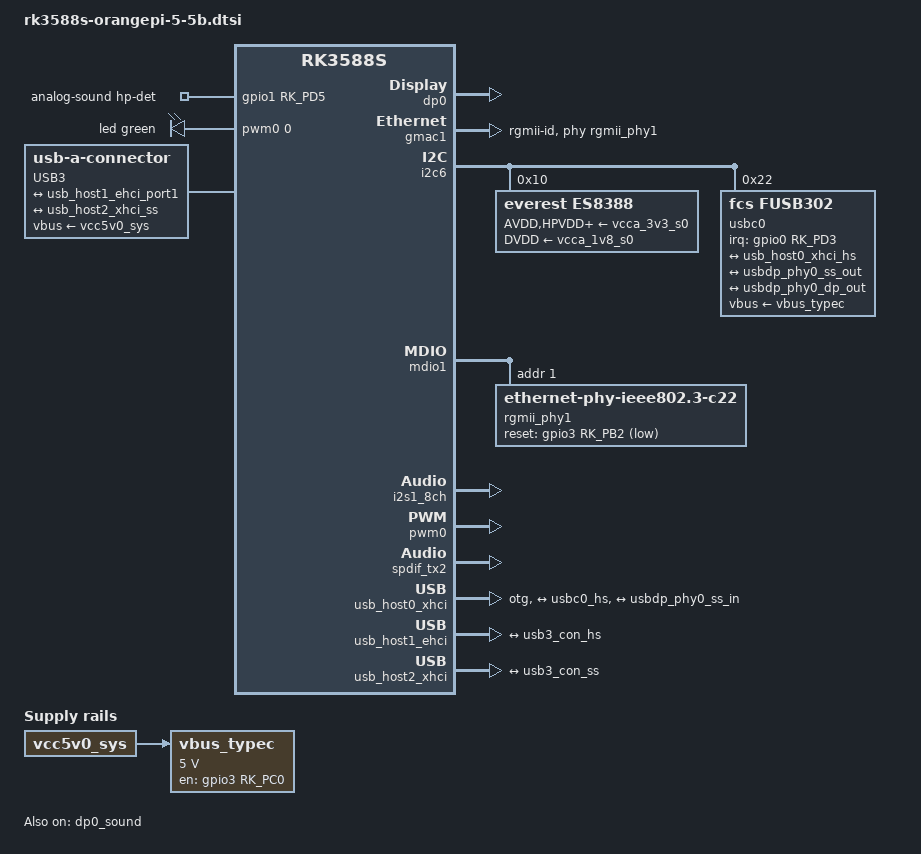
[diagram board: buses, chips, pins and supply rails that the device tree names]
// SPDX-License-Identifier: (GPL-2.0+ OR MIT)
/*
 * Device tree definitions shared by the Orange Pi 5 and Orange Pi 5B
 * but not the Orange Pi 5 Pro.
 */

#include <dt-bindings/usb/pd.h>
#include "rk3588s-orangepi-5.dtsi"

/ {
	aliases {
		ethernet0 = &gmac1;
	};

	analog-sound {
		compatible = "simple-audio-card";
		pinctrl-names = "default";
		pinctrl-0 = <&hp_detect>;
		simple-audio-card,name = "rockchip,es8388";
		simple-audio-card,bitclock-master = <&masterdai>;
		simple-audio-card,format = "i2s";
		simple-audio-card,frame-master = <&masterdai>;
		simple-audio-card,hp-det-gpios = <&gpio1 RK_PD5 GPIO_ACTIVE_HIGH>;
		simple-audio-card,mclk-fs = <256>;
		simple-audio-card,routing =
			"Headphones", "LOUT1",
			"Headphones", "ROUT1",
			"LINPUT1", "Microphone Jack",
			"RINPUT1", "Microphone Jack",
			"LINPUT2", "Onboard Microphone",
			"RINPUT2", "Onboard Microphone";
		simple-audio-card,widgets =
			"Microphone", "Microphone Jack",
			"Microphone", "Onboard Microphone",
			"Headphone", "Headphones";

		simple-audio-card,cpu {
			sound-dai = <&i2s1_8ch>;
		};

		masterdai: simple-audio-card,codec {
			sound-dai = <&es8388>;
			system-clock-frequency = <12288000>;
		};
	};

	pwm-leds {
		compatible = "pwm-leds";

		led {
			color = <LED_COLOR_ID_GREEN>;
			function = LED_FUNCTION_STATUS;
			linux,default-trigger = "heartbeat";
			max-brightness = <255>;
			pwms = <&pwm0 0 25000 0>;
		};
	};

	/*
	 * The upper Type-A port: its USB 2.0 lines go to USB 2.0 host 1
	 * (EHCI/OHCI), its SuperSpeed lanes to the SuperSpeed-only USB 3.0
	 * host 2 (xHCI).
	 */
	usb3_con: connector-usb3 {
		compatible = "usb-a-connector";
		label = "USB3";
		vbus-supply = <&vcc5v0_sys>;

		ports {
			#address-cells = <1>;
			#size-cells = <0>;

			port@0 {
				reg = <0>;

				usb3_con_hs: endpoint {
					remote-endpoint = <&usb_host1_ehci_port1>;
				};
			};

			port@1 {
				reg = <1>;

				usb3_con_ss: endpoint {
					remote-endpoint = <&usb_host2_xhci_ss>;
				};
			};
		};
	};

	vbus_typec: regulator-vbus-typec {
		compatible = "regulator-fixed";
		enable-active-high;
		gpio = <&gpio3 RK_PC0 GPIO_ACTIVE_HIGH>;
		pinctrl-names = "default";
		pinctrl-0 = <&typec5v_pwren>;
		regulator-name = "vbus_typec";
		regulator-min-microvolt = <5000000>;
		regulator-max-microvolt = <5000000>;
		vin-supply = <&vcc5v0_sys>;
	};
};

&dp0 {
	status = "okay";
};

&dp0_in {
	dp0_in_vp2: endpoint {
		remote-endpoint = <&vp2_out_dp0>;
	};
};

&dp0_out {
	dp0_out_con: endpoint {
		remote-endpoint = <&usbdp_phy0_dp_in>;
	};
};

&dp0_sound {
	status = "okay";
};

&gmac1 {
	clock_in_out = "output";
	phy-handle = <&rgmii_phy1>;
	phy-mode = "rgmii-id";
	pinctrl-0 = <&gmac1_miim
			&gmac1_tx_bus2
			&gmac1_rx_bus2
			&gmac1_rgmii_clk
			&gmac1_rgmii_bus>;
	pinctrl-names = "default";
	status = "okay";
};

&i2c6 {
	es8388: audio-codec@10 {
		compatible = "everest,es8388", "everest,es8328";
		reg = <0x10>;
		clocks = <&cru I2S1_8CH_MCLKOUT_TO_IO>;
		AVDD-supply = <&vcca_3v3_s0>;
		DVDD-supply = <&vcca_1v8_s0>;
		HPVDD-supply = <&vcca_3v3_s0>;
		PVDD-supply = <&vcca_3v3_s0>;
		assigned-clocks = <&cru I2S1_8CH_MCLKOUT>;
		assigned-clock-rates = <12288000>;
		#sound-dai-cells = <0>;
	};

	usbc0: usb-typec@22 {
		compatible = "fcs,fusb302";
		reg = <0x22>;
		interrupt-parent = <&gpio0>;
		interrupts = <RK_PD3 IRQ_TYPE_LEVEL_LOW>;
		pinctrl-names = "default";
		pinctrl-0 = <&usbc0_int>;
		vbus-supply = <&vbus_typec>;
		status = "okay";

		usb_con: connector {
			compatible = "usb-c-connector";
			label = "USB-C";
			data-role = "dual";
			op-sink-microwatt = <1000000>;
			power-role = "dual";
			sink-pdos =
				<PDO_FIXED(5000, 1000, PDO_FIXED_USB_COMM)>;
			source-pdos =
				<PDO_FIXED(5000, 3000, PDO_FIXED_USB_COMM)>;
			try-power-role = "source";

			altmodes {
				displayport {
					svid = /bits/ 16 <0xff01>;
					vdo = <0x00001c46>;
				};
			};

			ports {
				#address-cells = <1>;
				#size-cells = <0>;

				port@0 {
					reg = <0>;
					usbc0_hs: endpoint {
						remote-endpoint = <&usb_host0_xhci_hs>;
					};
				};

				port@1 {
					reg = <1>;
					usbc0_ss: endpoint {
						remote-endpoint = <&usbdp_phy0_ss_out>;
					};
				};

				port@2 {
					reg = <2>;
					usbc0_sbu: endpoint {
						remote-endpoint = <&usbdp_phy0_dp_out>;
					};
				};
			};
		};
	};
};

&mdio1 {
	rgmii_phy1: ethernet-phy@1 {
		compatible = "ethernet-phy-ieee802.3-c22";
		reg = <0x1>;
		reset-assert-us = <20000>;
		reset-deassert-us = <100000>;
		reset-gpios = <&gpio3 RK_PB2 GPIO_ACTIVE_LOW>;
	};
};

&pinctrl {
	usb-typec {
		usbc0_int: usbc0-int {
			rockchip,pins = <0 RK_PD3 RK_FUNC_GPIO &pcfg_pull_up>;
		};

		typec5v_pwren: typec5v-pwren {
			rockchip,pins = <3 RK_PC0 RK_FUNC_GPIO &pcfg_pull_none>;
		};
	};
};

&i2s1_8ch {
	rockchip,i2s-tx-route = <3 2 1 0>;
	rockchip,i2s-rx-route = <1 3 2 0>;
	pinctrl-names = "default";
	pinctrl-0 = <&i2s1m0_sclk
			   &i2s1m0_mclk
			   &i2s1m0_lrck
			   &i2s1m0_sdi1
			   &i2s1m0_sdo3>;
	status = "okay";
};

&pwm0 {
	pinctrl-0 = <&pwm0m2_pins>;
	pinctrl-names = "default";
	status = "okay";
};

&rk806 {
	regulators {
		vcc_1v8_s0: pldo-reg1 {
			regulator-name = "vcc_1v8_s0";
			regulator-always-on;
			regulator-boot-on;
			regulator-min-microvolt = <1800000>;
			regulator-max-microvolt = <1800000>;

			regulator-state-mem {
				regulator-off-in-suspend;
			};
		};

		vcca_1v8_s0: pldo-reg2 {
			regulator-name = "vcca_1v8_s0";
			regulator-always-on;
			regulator-boot-on;
			regulator-min-microvolt = <1800000>;
			regulator-max-microvolt = <1800000>;

			regulator-state-mem {
				regulator-off-in-suspend;
				regulator-suspend-microvolt = <1800000>;
			};
		};
	};
};


&spdif_tx2 {
	status = "okay";
};

&usb_host0_xhci {
	dr_mode = "otg";
	usb-role-switch;

	ports {
		#address-cells = <1>;
		#size-cells = <0>;

		port@0 {
			reg = <0>;

			usb_host0_xhci_hs: endpoint {
				remote-endpoint = <&usbc0_hs>;
			};
		};

		port@1 {
			reg = <1>;

			usb_host0_xhci_ss: endpoint {
				remote-endpoint = <&usbdp_phy0_ss_in>;
			};
		};
	};
};

&usb_host1_ehci {
	ports {
		#address-cells = <1>;
		#size-cells = <0>;

		port@1 {
			reg = <1>;

			usb_host1_ehci_port1: endpoint {
				remote-endpoint = <&usb3_con_hs>;
			};
		};
	};
};

&usb_host2_xhci {
	status = "okay";

	ports {
		#address-cells = <1>;
		#size-cells = <0>;

		port@1 {
			reg = <1>;

			usb_host2_xhci_ss: endpoint {
				remote-endpoint = <&usb3_con_ss>;
			};
		};
	};
};

&usbdp_phy0 {
	mode-switch;
	orientation-switch;
	sbu1-dc-gpios = <&gpio4 RK_PA5 GPIO_ACTIVE_HIGH>;
	sbu2-dc-gpios = <&gpio4 RK_PA7 GPIO_ACTIVE_HIGH>;

	ports {
		#address-cells = <1>;
		#size-cells = <0>;

		port@0 {
			reg = <0>;

			usbdp_phy0_ss_out: endpoint {
				remote-endpoint = <&usbc0_ss>;
			};
		};

		port@1 {
			reg = <1>;

			usbdp_phy0_ss_in: endpoint {
				remote-endpoint = <&usb_host0_xhci_ss>;
			};
		};

		port@2 {
			reg = <2>;

			usbdp_phy0_dp_in: endpoint {
				remote-endpoint = <&dp0_out_con>;
			};
		};

		port@3 {
			reg = <3>;

			usbdp_phy0_dp_out: endpoint {
				remote-endpoint = <&usbc0_sbu>;
			};
		};
	};
};

&vp2 {
	vp2_out_dp0: endpoint@a {
		reg = <ROCKCHIP_VOP2_EP_DP0>;
		remote-endpoint = <&dp0_in_vp2>;
	};
};
